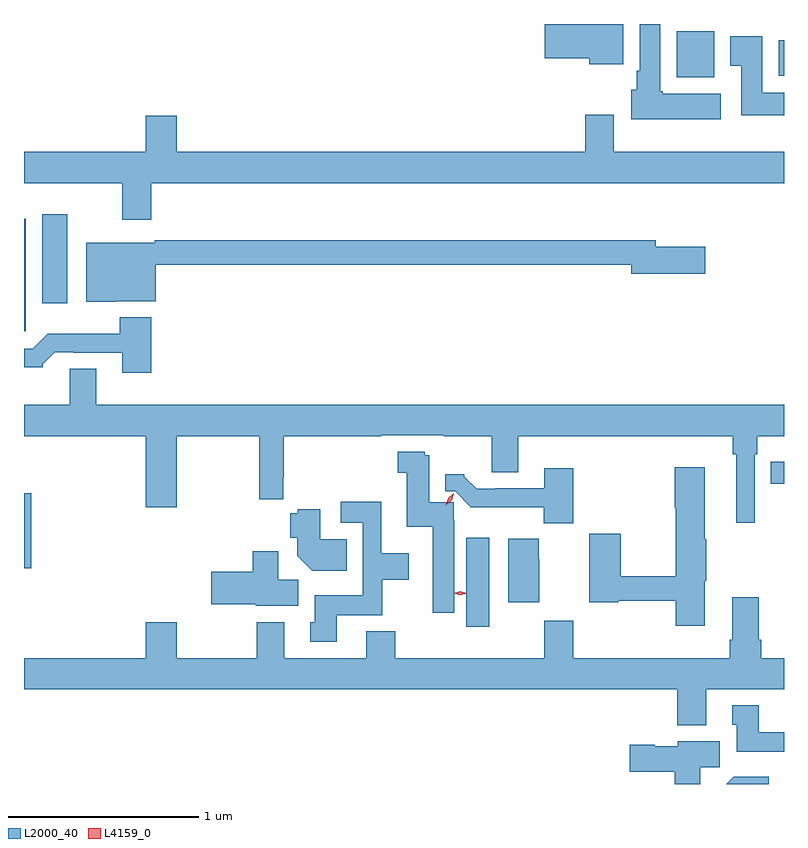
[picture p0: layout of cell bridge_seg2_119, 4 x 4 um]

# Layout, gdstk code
import gdstk
lib = gdstk.Library(unit=1e-6, precision=1e-09)
def R(c, l, rs):  # rectangles x0, y0, x1, y1
    for r in rs: c.add(gdstk.rectangle(r[:2], r[2:], *l))
def P(c, l, *ps):  # polygons
    for p in ps: c.add(gdstk.Polygon(p, *l))
L2000_40 = (2000, 40)
L4159_0 = (4159, 0)

bridge_seg2_119 = lib.new_cell('bridge_seg2_119')
R(bridge_seg2_119, L2000_40, [(490.371,643.968,490.492,644.437), (488.044,644.277,488.081,644.671), (491.974,644.722,492.044,644.838), (488.044,645.525,488.053,646.117), (488.141,645.672,488.272,646.141), (491.48,646.862,491.677,647.104), (492.017,646.868,492.044,647.056)])
P(bridge_seg2_119, L2000_40, [(491.71,646.774),(491.406,646.774),(491.406,646.788),(491.392,646.788),(491.392,647.141),(491.285,647.141),(491.285,646.894),(491.27,646.894),(491.27,646.794),(491.24,646.794),(491.24,646.64),(491.71,646.64)],
  [(491.197,647.141),(490.785,647.141),(490.785,646.961),(491.018,646.961),(491.018,646.928),(491.197,646.928)],
  [(492.044,646.78),(491.929,646.78),(491.929,647.077),(491.762,647.077),(491.762,646.921),(491.819,646.921),(491.819,646.662),(492.044,646.662)],
  [(488.714,646.304),(492.044,646.304),(492.044,646.468),(491.149,646.468),(491.149,646.663),(490.997,646.663),(490.997,646.468),(488.848,646.468),(488.848,646.657),(488.684,646.657),(488.684,646.468),(488.044,646.468),(488.044,646.304),(488.561,646.304),(488.561,646.11),(488.714,646.11)],
  [(488.532,645.683),(488.737,645.683),(488.737,645.874),(491.24,645.874),(491.24,645.827),(491.629,645.827),(491.629,645.969),(491.368,645.969),(491.368,646.003),(488.733,646.003),(488.733,645.991),(488.372,645.991),(488.372,645.68),(488.532,645.68)],
  [(488.714,645.598),(488.549,645.598),(488.549,645.511),(488.17,645.511),(488.091,645.432),(488.044,645.432),(488.044,645.335),(488.142,645.335),(488.142,645.35),(488.206,645.414),(488.305,645.414),(488.305,645.411),(488.561,645.411),(488.561,645.306),(488.714,645.306)],
  [(491.889,644.876),(491.903,644.876),(491.903,644.972),(492.044,644.972),(492.044,645.136),(488.425,645.136),(488.425,645.326),(488.285,645.326),(488.285,645.136),(488.044,645.136),(488.044,644.972),(488.684,644.972),(488.684,644.598),(488.848,644.598),(488.848,644.972),(489.282,644.972),(489.282,644.64),(489.409,644.64),(489.409,644.752),(489.41,644.752),(489.41,644.972),(489.924,644.972),(489.924,644.976),(490.253,644.976),(490.253,644.972),(490.505,644.972),(490.505,644.782),(490.645,644.782),(490.645,644.972),(491.773,644.972),(491.773,644.876),(491.792,644.876),(491.792,644.517),(491.889,644.517)],
  [(490.309,644.53),(490.305,644.53),(490.305,644.624),(490.177,644.624),(490.177,644.87),(490.153,644.87),(490.153,644.891),(490.012,644.891),(490.012,644.778),(490.059,644.778),(490.059,644.494),(490.194,644.494),(490.194,644.042),(490.309,644.042)],
  [(491.626,644.211),(491.634,644.211),(491.634,644.429),(491.626,644.429),(491.626,644.809),(491.468,644.809),(491.468,644.596),(491.473,644.596),(491.473,644.234),(491.184,644.234),(491.184,644.458),(491.018,644.458),(491.018,644.098),(491.172,644.098),(491.172,644.106),(491.473,644.106),(491.473,643.974),(491.626,643.974)],
  [(490.934,644.803),(490.781,644.803),(490.781,644.697),(490.525,644.697),(490.525,644.694),(490.427,644.694),(490.362,644.759),(490.362,644.77),(490.262,644.77),(490.262,644.681),(490.313,644.681),(490.396,644.598),(490.779,644.598),(490.779,644.513),(490.934,644.513)],
  [(489.691,644.03),(489.929,644.03),(489.929,644.216),(490.069,644.216),(490.069,644.356),(489.925,644.356),(489.925,644.626),(489.711,644.626),(489.711,644.517),(489.828,644.517),(489.828,644.134),(489.575,644.134),(489.575,643.992),(489.551,643.992),(489.551,643.89),(489.691,643.89)],
  [(489.743,644.428),(489.604,644.428),(489.604,644.586),(489.486,644.586),(489.486,644.566),(489.444,644.566),(489.444,644.438),(489.482,644.438),(489.482,644.342),(489.56,644.264),(489.743,644.264)],
  [(490.756,644.324),(490.754,644.324),(490.754,644.431),(490.592,644.431),(490.592,644.097),(490.756,644.097)],
  [(489.487,644.216),(489.382,644.216),(489.382,644.365),(489.248,644.365),(489.248,644.258),(489.03,644.258),(489.03,644.087),(489.264,644.087),(489.264,644.078),(489.487,644.078)],
  [(491.635,643.64),(492.044,643.64),(492.044,643.804),(491.924,643.804),(491.924,643.9),(491.911,643.9),(491.911,644.125),(491.771,644.125),(491.771,643.9),(491.759,643.9),(491.759,643.804),(490.934,643.804),(490.934,643.999),(490.781,643.999),(490.781,643.804),(489.998,643.804),(489.998,643.945),(489.845,643.945),(489.845,643.804),(489.415,643.804),(489.415,643.993),(489.268,643.993),(489.268,643.804),(488.848,643.804),(488.848,643.993),(488.684,643.993),(488.684,643.804),(488.044,643.804),(488.044,643.64),(491.483,643.64),(491.483,643.451),(491.635,643.451)],
  [(492.044,643.414),(491.911,643.414),(491.911,643.555),(491.771,643.555),(491.771,643.452),(491.795,643.452),(491.795,643.31),(492.044,643.31)],
  [(491.602,643.228),(491.707,643.228),(491.707,643.366),(491.484,643.366),(491.484,643.339),(491.364,643.339),(491.364,643.347),(491.232,643.347),(491.232,643.205),(491.468,643.205),(491.468,643.141),(491.602,643.141)],
  [(491.963,643.18),(491.78,643.18),(491.741,643.141),(491.963,643.141)])
P(bridge_seg2_119, L4159_0, [(490.264,644.607),(490.264,644.607),(490.277,644.645),(490.307,644.672),(490.307,644.672),(490.307,644.672),(490.294,644.634),(490.264,644.607)],
  [(490.34,644.135),(490.306,644.144),(490.306,644.144),(490.306,644.144),(490.34,644.155),(490.374,644.146),(490.374,644.146),(490.374,644.145)])

lib.write_gds('bridge_seg2_119.gds')
